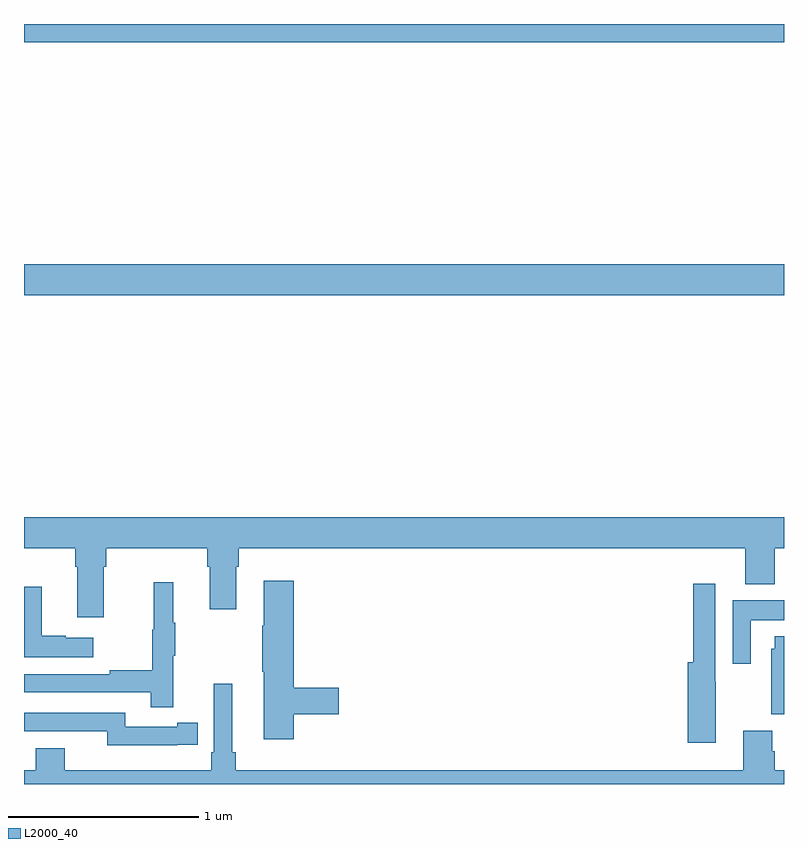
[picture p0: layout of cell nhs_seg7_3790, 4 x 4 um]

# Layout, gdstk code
import gdstk
lib = gdstk.Library(unit=1e-6, precision=1e-09)
def R(c, l, rs):  # rectangles x0, y0, x1, y1
    for r in rs: c.add(gdstk.rectangle(r[:2], r[2:], *l))
def P(c, l, *ps):  # polygons
    for p in ps: c.add(gdstk.Polygon(p, *l))
L2000_40 = (2000, 40)

nhs_seg7_3790 = lib.new_cell('nhs_seg7_3790')
R(nhs_seg7_3790, L2000_40, [(351,1044.572,355,1044.736), (351,1045.904,355,1046)])
P(nhs_seg7_3790, L2000_40, [(351.421,1043.144),(351.434,1043.144),(351.434,1043.24),(351.965,1043.24),(351.965,1043.144),(351.977,1043.144),(351.977,1042.92),(352.117,1042.92),(352.117,1043.144),(352.13,1043.144),(352.13,1043.24),(354.797,1043.24),(354.797,1043.051),(354.95,1043.051),(354.95,1043.24),(355,1043.24),(355,1043.404),(351,1043.404),(351,1043.24),(351.269,1043.24),(351.269,1043.144),(351.281,1043.144),(351.281,1042.878),(351.421,1042.878)],
  [(352.421,1042.366),(352.657,1042.366),(352.657,1042.507),(352.421,1042.507),(352.421,1043.071),(352.262,1043.071),(352.262,1042.832),(352.255,1042.832),(352.255,1042.591),(352.262,1042.591),(352.262,1042.236),(352.421,1042.236)],
  [(351.785,1042.675),(351.796,1042.675),(351.796,1042.849),(351.785,1042.849),(351.785,1043.062),(351.682,1043.062),(351.682,1042.812),(351.675,1042.812),(351.675,1042.598),(351.451,1042.598),(351.451,1042.578),(351,1042.578),(351,1042.482),(351.667,1042.482),(351.667,1042.404),(351.785,1042.404)],
  [(354.64,1042.538),(354.639,1042.538),(354.639,1043.053),(354.523,1043.053),(354.523,1042.642),(354.494,1042.642),(354.494,1042.218),(354.64,1042.218)],
  [(351.364,1042.771),(351.221,1042.771),(351.221,1042.781),(351.094,1042.781),(351.094,1043.038),(351,1043.038),(351,1042.667),(351.364,1042.667)],
  [(354.825,1042.862),(355,1042.862),(355,1042.966),(354.729,1042.966),(354.729,1042.632),(354.825,1042.632)],
  [(355,1042.777),(354.95,1042.777),(354.95,1042.713),(354.932,1042.713),(354.932,1042.366),(355,1042.366)],
  [(355,1042.072),(354.95,1042.072),(354.95,1042.172),(354.937,1042.172),(354.937,1042.281),(354.785,1042.281),(354.785,1042.072),(352.115,1042.072),(352.115,1042.168),(352.096,1042.168),(352.096,1042.528),(351.999,1042.528),(351.999,1042.168),(351.986,1042.168),(351.986,1042.072),(351.214,1042.072),(351.214,1042.189),(351.062,1042.189),(351.062,1042.072),(351,1042.072),(351,1042),(355,1042)],
  [(351.806,1042.206),(351.914,1042.206),(351.914,1042.322),(351.806,1042.322),(351.806,1042.302),(351.534,1042.302),(351.534,1042.374),(351,1042.374),(351,1042.278),(351.438,1042.278),(351.438,1042.205),(351.806,1042.205)])

lib.write_gds('nhs_seg7_3790.gds')
